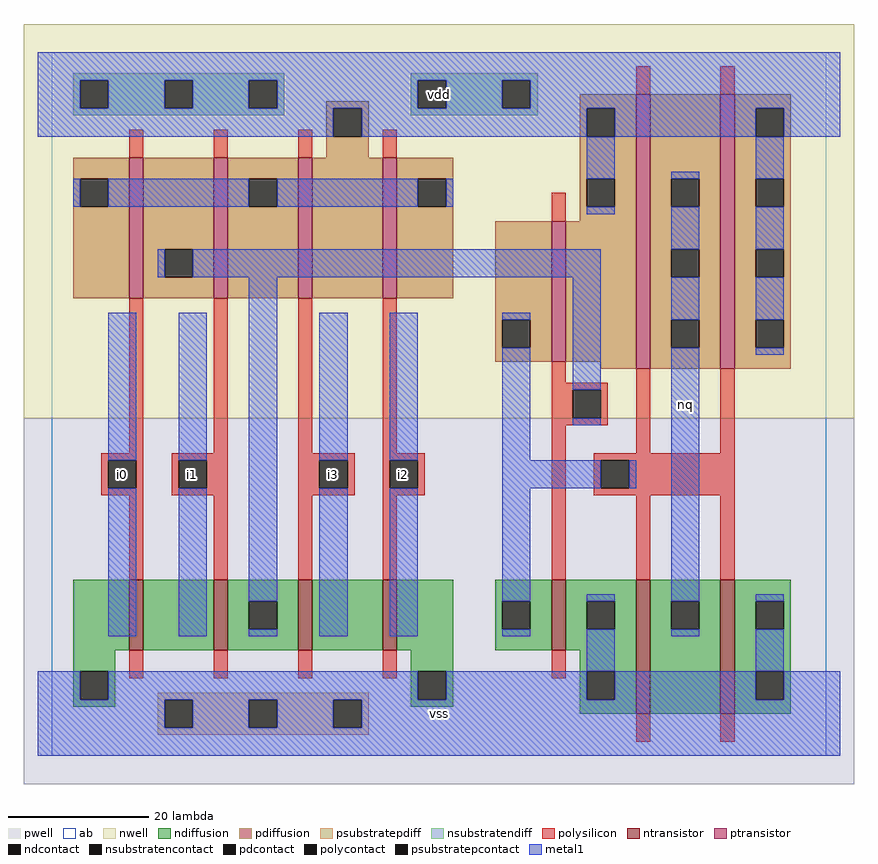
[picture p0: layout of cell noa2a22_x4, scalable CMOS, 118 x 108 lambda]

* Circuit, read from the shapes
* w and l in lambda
.subckt noa2a22_x4 i0 i1 i2 i3 nq vdd vss
M1 n1 i0 vss vss nfet w=10 l=2
M2 n2 i1 n1 vss nfet w=10 l=2
M3 n3 i3 n2 vss nfet w=10 l=2
M4 vss i2 n3 vss nfet w=10 l=2
M5 vss n2 n4 vss nfet w=10 l=2
M6 nq n4 vss vss nfet w=19 l=2 m=2
M7 n2 i0 n5 vdd pfet w=20 l=2
M8 n5 i1 n2 vdd pfet w=20 l=2
M9 vdd i3 n5 vdd pfet w=20 l=2
M10 n5 i2 vdd vdd pfet w=20 l=2
M11 vdd n2 n4 vdd pfet w=20 l=2
M12 nq n4 vdd vdd pfet w=39 l=2 m=2
.ends

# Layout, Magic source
magic
tech scmos
<< ab >>
rect 0 0 110 100
<< pwell >>
rect -4 -4 114 48
<< nwell >>
rect -4 48 114 104
<< polysilicon >>
rect 11 85 13 89
rect 23 85 25 89
rect 35 85 37 89
rect 83 94 85 98
rect 95 94 97 98
rect 47 85 49 89
rect 71 76 73 80
rect 11 43 13 65
rect 23 43 25 65
rect 7 42 13 43
rect 7 38 8 42
rect 12 38 13 42
rect 7 37 13 38
rect 17 42 25 43
rect 17 38 18 42
rect 22 38 25 42
rect 17 37 25 38
rect 11 25 13 37
rect 23 25 25 37
rect 35 43 37 65
rect 47 43 49 65
rect 71 53 73 56
rect 71 52 79 53
rect 71 48 74 52
rect 78 48 79 52
rect 71 47 79 48
rect 35 42 43 43
rect 35 38 38 42
rect 42 38 43 42
rect 35 37 43 38
rect 47 42 53 43
rect 47 38 48 42
rect 52 38 53 42
rect 47 37 53 38
rect 35 25 37 37
rect 47 25 49 37
rect 71 25 73 47
rect 83 43 85 55
rect 95 43 97 55
rect 77 42 97 43
rect 77 38 78 42
rect 82 38 97 42
rect 77 37 97 38
rect 83 25 85 37
rect 95 25 97 37
rect 11 11 13 15
rect 23 11 25 15
rect 35 11 37 15
rect 47 11 49 15
rect 71 11 73 15
rect 83 2 85 6
rect 95 2 97 6
<< ndiffusion >>
rect 3 15 11 25
rect 13 15 23 25
rect 25 22 35 25
rect 25 18 28 22
rect 32 18 35 22
rect 25 15 35 18
rect 37 15 47 25
rect 49 15 57 25
rect 63 22 71 25
rect 63 18 64 22
rect 68 18 71 22
rect 63 15 71 18
rect 73 22 83 25
rect 73 18 76 22
rect 80 18 83 22
rect 73 15 83 18
rect 3 12 9 15
rect 3 8 4 12
rect 8 8 9 12
rect 51 12 57 15
rect 3 7 9 8
rect 51 8 52 12
rect 56 8 57 12
rect 75 12 83 15
rect 51 7 57 8
rect 75 8 76 12
rect 80 8 83 12
rect 75 6 83 8
rect 85 22 95 25
rect 85 18 88 22
rect 92 18 95 22
rect 85 6 95 18
rect 97 22 105 25
rect 97 18 100 22
rect 104 18 105 22
rect 97 12 105 18
rect 97 8 100 12
rect 104 8 105 12
rect 97 6 105 8
<< pdiffusion >>
rect 39 92 45 93
rect 39 88 40 92
rect 44 88 45 92
rect 75 92 83 94
rect 39 85 45 88
rect 75 88 76 92
rect 80 88 83 92
rect 3 82 11 85
rect 3 78 4 82
rect 8 78 11 82
rect 3 65 11 78
rect 13 72 23 85
rect 13 68 16 72
rect 20 68 23 72
rect 13 65 23 68
rect 25 82 35 85
rect 25 78 28 82
rect 32 78 35 82
rect 25 65 35 78
rect 37 65 47 85
rect 49 82 57 85
rect 49 78 52 82
rect 56 78 57 82
rect 75 82 83 88
rect 49 65 57 78
rect 75 78 76 82
rect 80 78 83 82
rect 75 76 83 78
rect 63 62 71 76
rect 63 58 64 62
rect 68 58 71 62
rect 63 56 71 58
rect 73 56 83 76
rect 78 55 83 56
rect 85 82 95 94
rect 85 78 88 82
rect 92 78 95 82
rect 85 72 95 78
rect 85 68 88 72
rect 92 68 95 72
rect 85 62 95 68
rect 85 58 88 62
rect 92 58 95 62
rect 85 55 95 58
rect 97 92 105 94
rect 97 88 100 92
rect 104 88 105 92
rect 97 82 105 88
rect 97 78 100 82
rect 104 78 105 82
rect 97 72 105 78
rect 97 68 100 72
rect 104 68 105 72
rect 97 62 105 68
rect 97 58 100 62
rect 104 58 105 62
rect 97 55 105 58
<< metal1 >>
rect -2 96 112 100
rect -2 92 4 96
rect 8 92 16 96
rect 20 92 28 96
rect 32 92 52 96
rect 56 92 64 96
rect 68 92 112 96
rect -2 88 40 92
rect 44 88 76 92
rect 80 88 100 92
rect 104 88 112 92
rect 76 82 80 88
rect 3 78 4 82
rect 8 78 28 82
rect 32 78 52 82
rect 56 78 57 82
rect 76 77 80 78
rect 88 82 92 83
rect 88 72 92 78
rect 15 68 16 72
rect 20 68 78 72
rect 8 42 12 63
rect 8 17 12 38
rect 18 42 22 63
rect 18 17 22 38
rect 28 22 32 68
rect 28 17 32 18
rect 38 42 42 63
rect 38 17 42 38
rect 48 42 52 63
rect 48 17 52 38
rect 64 62 68 63
rect 64 42 68 58
rect 74 52 78 68
rect 74 47 78 48
rect 88 62 92 68
rect 64 38 78 42
rect 82 38 83 42
rect 64 22 68 38
rect 64 17 68 18
rect 76 22 80 23
rect 76 12 80 18
rect 88 22 92 58
rect 100 82 104 88
rect 100 72 104 78
rect 100 62 104 68
rect 100 57 104 58
rect 88 17 92 18
rect 100 22 104 23
rect 100 12 104 18
rect -2 8 4 12
rect 8 8 52 12
rect 56 8 76 12
rect 80 8 100 12
rect 104 8 112 12
rect -2 4 16 8
rect 20 4 28 8
rect 32 4 40 8
rect 44 4 112 8
rect -2 0 112 4
<< ntransistor >>
rect 11 15 13 25
rect 23 15 25 25
rect 35 15 37 25
rect 47 15 49 25
rect 71 15 73 25
rect 83 6 85 25
rect 95 6 97 25
<< ptransistor >>
rect 11 65 13 85
rect 23 65 25 85
rect 35 65 37 85
rect 47 65 49 85
rect 71 56 73 76
rect 83 55 85 94
rect 95 55 97 94
<< polycontact >>
rect 8 38 12 42
rect 18 38 22 42
rect 74 48 78 52
rect 38 38 42 42
rect 48 38 52 42
rect 78 38 82 42
<< ndcontact >>
rect 28 18 32 22
rect 64 18 68 22
rect 76 18 80 22
rect 4 8 8 12
rect 52 8 56 12
rect 76 8 80 12
rect 88 18 92 22
rect 100 18 104 22
rect 100 8 104 12
<< pdcontact >>
rect 40 88 44 92
rect 76 88 80 92
rect 4 78 8 82
rect 16 68 20 72
rect 28 78 32 82
rect 52 78 56 82
rect 76 78 80 82
rect 64 58 68 62
rect 88 78 92 82
rect 88 68 92 72
rect 88 58 92 62
rect 100 88 104 92
rect 100 78 104 82
rect 100 68 104 72
rect 100 58 104 62
<< psubstratepcontact >>
rect 16 4 20 8
rect 28 4 32 8
rect 40 4 44 8
<< nsubstratencontact >>
rect 4 92 8 96
rect 16 92 20 96
rect 28 92 32 96
rect 52 92 56 96
rect 64 92 68 96
<< psubstratepdiff >>
rect 15 8 45 9
rect 15 4 16 8
rect 20 4 28 8
rect 32 4 40 8
rect 44 4 45 8
rect 15 3 45 4
<< nsubstratendiff >>
rect 3 96 33 97
rect 3 92 4 96
rect 8 92 16 96
rect 20 92 28 96
rect 32 92 33 96
rect 51 96 69 97
rect 3 91 33 92
rect 51 92 52 96
rect 56 92 64 96
rect 68 92 69 96
rect 51 91 69 92
<< labels >>
rlabel polycontact 10 40 10 40 6 i0
rlabel polycontact 40 40 40 40 6 i3
rlabel polycontact 20 40 20 40 6 i1
rlabel metal1 55 6 55 6 6 vss
rlabel polycontact 50 40 50 40 6 i2
rlabel nsubstratencontact 55 94 55 94 6 vdd
rlabel metal1 90 50 90 50 6 nq
<< end >>
